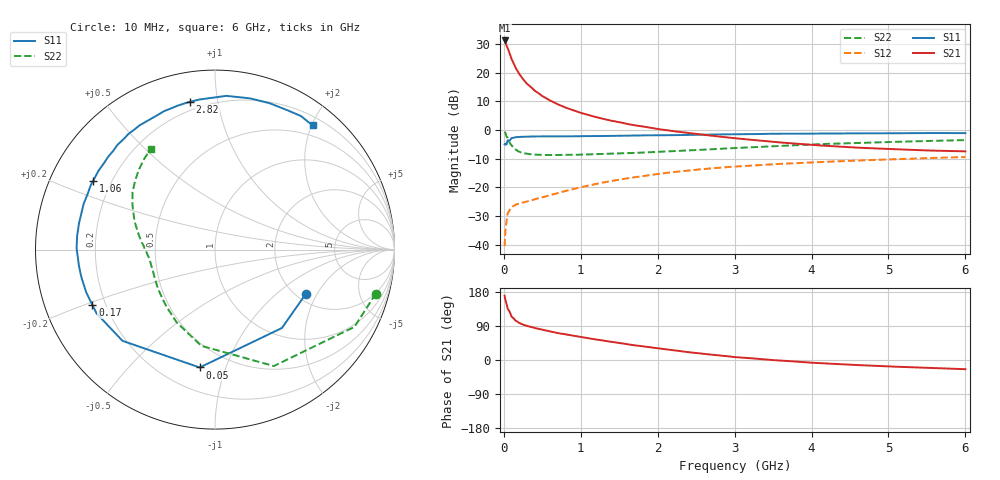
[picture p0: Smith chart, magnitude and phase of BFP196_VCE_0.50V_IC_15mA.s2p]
! Infineon Technologies  Discrete & RF Semiconductors
! BFP196
! VCE = 0.50V,  IC =  15mA
! Common Emitter S-Parameters:  Jan 2016
# GHz  S  MA  R  50
!  f  S11  S21  S12  S22
! GHz  MAG  ANG  MAG  ANG  MAG  ANG  MAG  ANG
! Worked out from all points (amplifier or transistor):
!   210 points, 10 MHz to 6 GHz, reference 50 ohm
!   highest |S21| = 31.2 dB at 10 MHz (marker M1)
!   |S21| within 3 dB of that: start of sweep to 54.99 MHz
!   unconditionally stable (mu >= 1): 668.6 MHz to end of sweep
!   at 185 MHz: K = 0.42, MSG = 23.0 dB, |S12| = -25.8 dB
!   at 1.52 GHz: K = 1.16, MAG = 7.5 dB, |S12| = -17.2 dB
!   at 6 GHz: K = 1.04, MAG = -0.3 dB, |S12| = -9.4 dB
!   S11 on the Smith chart (normalised r, x): 10 MHz: 2.23, -1.62; 50 MHz: 0.35, -0.82; 170 MHz: 0.15, -0.21; 1.06 GHz: 0.13, +0.26; 2.82 GHz: 0.15, +0.83; 6 GHz: 0.33, +2.02
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0.01  0.5627 -26.2  36.35 169.6  0.0094 79.3  0.9289 -15.3
0.02  0.5743 -49.5  34 158.4  0.0176 71.3  0.8883 -29.0
0.05  0.6623 -97.4  26.79 135.3  0.0351 50.2  0.7269 -63.2
0.1  0.7239 -135.4  17.3 114.6  0.0451 36.1  0.5414 -98.1
0.15  0.7496 -151.7  12.29 104.3  0.0494 31.3  0.458 -117.9
0.17  0.7495 -155.7  11.15 102.1  0.0505 30.8  0.4392 -122.6
0.2  0.756 -161.6  9.487 97.8  0.0522 30.2  0.4171 -130.4
0.26  0.7608 -169.5  7.378 92.6  0.0546 31.2  0.3927 -140.8
0.3  0.7633 -173.1  6.402 89.8  0.0561 32.3  0.3848 -145.7
0.4  0.7713 179.4  4.857 84.4  0.0617 35.2  0.3719 -154.2
0.5  0.772 174.2  3.894 79.9  0.0668 37.5  0.3664 -159.8
0.6  0.7717 168.8  3.258 75.4  0.0729 40.1  0.3651 -163.8
0.8  0.775 160.8  2.46 67.7  0.086 42.9  0.3672 -169.2
1.02  0.7795 152.1  1.952 60.0  0.1015 44.5  0.3715 -173.3
1.06  0.7797 150.8  1.884 58.7  0.1044 44.6  0.373 -174.0
1.6  0.7971 133.1  1.274 41.8  0.1431 42.5  0.3946 178.4
2.02  0.8096 120.7  1.03 30.5  0.1719 38.8  0.4159 172.8
2.82  0.8357 99.6  0.763 11.8  0.2205 29.4  0.4707 161.4
3.1  0.8421 93.9  0.696 6.3  0.2341 25.6  0.4904 157.3
4.1  0.865 75.4  0.538 -8.1  0.2753 13.8  0.5653 143.8
5.1  0.876 61.9  0.46 -17.7  0.3093 3.1  0.6197 132.4
6  0.88 51.8  0.423 -24.3  0.3372 -6.8  0.6649 122.4
